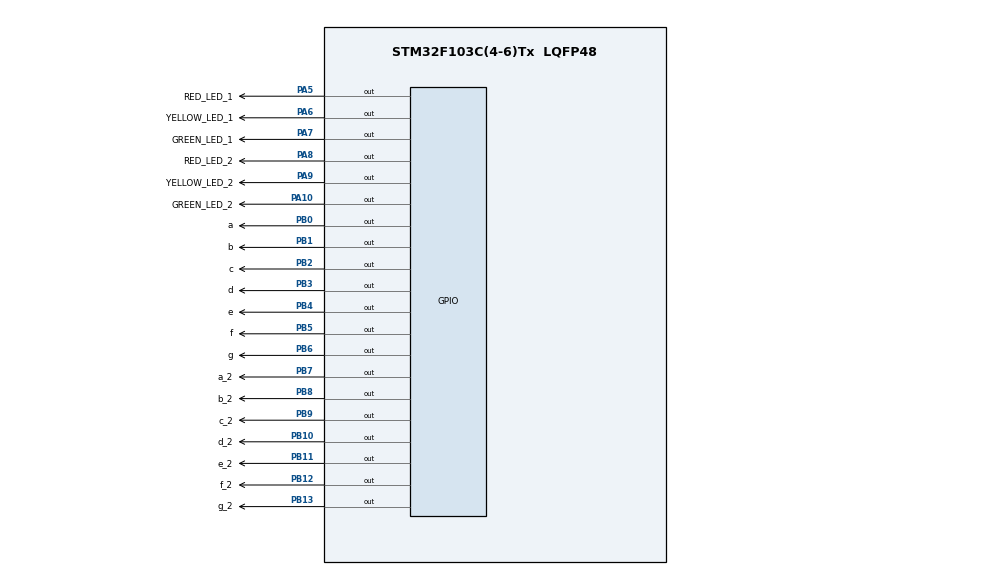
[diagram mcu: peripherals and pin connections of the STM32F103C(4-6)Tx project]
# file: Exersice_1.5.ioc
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Mcu.Family=STM32F1
Mcu.Name=STM32F103C(4-6)Tx
Mcu.Package=LQFP48
NVIC.PriorityGroup=NVIC_PRIORITYGROUP_4
PA10.GPIO_Label=GREEN_LED_2
PA10.Signal=GPIO_Output
PA5.GPIO_Label=RED_LED_1
PA5.Signal=GPIO_Output
PA6.GPIO_Label=YELLOW_LED_1
PA6.Signal=GPIO_Output
PA7.GPIO_Label=GREEN_LED_1
PA7.Signal=GPIO_Output
PA8.GPIO_Label=RED_LED_2
PA8.Signal=GPIO_Output
PA9.GPIO_Label=YELLOW_LED_2
PA9.Signal=GPIO_Output
PB0.GPIO_Label=a
PB0.Signal=GPIO_Output
PB1.GPIO_Label=b
PB1.Signal=GPIO_Output
PB10.GPIO_Label=d_2
PB10.Signal=GPIO_Output
PB11.GPIO_Label=e_2
PB11.Signal=GPIO_Output
PB12.GPIO_Label=f_2
PB12.Signal=GPIO_Output
PB13.GPIO_Label=g_2
PB13.Signal=GPIO_Output
PB2.GPIO_Label=c
PB2.Signal=GPIO_Output
PB3.GPIO_Label=d
PB3.Signal=GPIO_Output
PB4.GPIO_Label=e
PB4.Signal=GPIO_Output
PB5.GPIO_Label=f
PB5.Signal=GPIO_Output
PB6.GPIO_Label=g
PB6.Signal=GPIO_Output
PB7.GPIO_Label=a_2
PB7.Signal=GPIO_Output
PB8.GPIO_Label=b_2
PB8.Signal=GPIO_Output
PB9.GPIO_Label=c_2
PB9.Signal=GPIO_Output
ProjectManager.HeapSize=0x200
ProjectManager.StackSize=0x400
ProjectManager.TargetToolchain=STM32CubeIDE
RCC.APB1Freq_Value=8000000
RCC.APB2Freq_Value=8000000
board=custom

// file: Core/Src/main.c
/* USER CODE BEGIN Header */
/**
  ******************************************************************************
  * @file           : main.c
  * @brief          : Main program body
  ******************************************************************************
  * @attention
  *
  * Copyright (c) 2025 STMicroelectronics.
  * All rights reserved.
  *
  * This software is licensed under terms that can be found in the LICENSE file
  * in the root directory of this software component.
  * If no LICENSE file comes with this software, it is provided AS-IS.
  *
  ******************************************************************************
  */
/* USER CODE END Header */
#include "main.h"

void SystemClock_Config(void);
static void MX_GPIO_Init(void);
/* USER CODE BEGIN PFP */
void number_1(int n);
void number_2(int m);
void led_1(int *flag_1, int *t1);
void led_2(int *flag_2, int *t2);
/* USER CODE END PFP */

/* USER CODE BEGIN 0 */
void number_1(int n){
	HAL_GPIO_WritePin(GPIOB, a_Pin|b_Pin|c_Pin|d_Pin|e_Pin|f_Pin|g_Pin, SET);
	switch (n){
		case 0:
			HAL_GPIO_WritePin(GPIOB, a_Pin|b_Pin|c_Pin|d_Pin|e_Pin|f_Pin, RESET);
			HAL_GPIO_WritePin(GPIOB, g_Pin, SET);
			break;
		case 1:
			HAL_GPIO_WritePin(GPIOB, b_Pin|c_Pin, RESET);
			HAL_GPIO_WritePin(GPIOB, a_Pin|g_Pin|d_Pin|e_Pin|f_Pin, SET);
			break;
		case 2:
			HAL_GPIO_WritePin(GPIOB, a_Pin|b_Pin|g_Pin|d_Pin|e_Pin, RESET);
			HAL_GPIO_WritePin(GPIOB, c_Pin|f_Pin, SET);
			break;
		case 3:
			HAL_GPIO_WritePin(GPIOB, a_Pin|b_Pin|g_Pin|c_Pin|d_Pin, RESET);
			HAL_GPIO_WritePin(GPIOB, e_Pin|f_Pin, SET);
			break;
		case 4:
			HAL_GPIO_WritePin(GPIOB, b_Pin|c_Pin|f_Pin|g_Pin, RESET);
			HAL_GPIO_WritePin(GPIOB, a_Pin|d_Pin|e_Pin, SET);
			break;
		case 5:
			HAL_GPIO_WritePin(GPIOB, a_Pin|f_Pin|g_Pin|c_Pin|d_Pin, RESET);
			HAL_GPIO_WritePin(GPIOB, e_Pin|b_Pin, SET);
			break;
		case 6:
		    HAL_GPIO_WritePin(GPIOB, a_Pin|f_Pin|e_Pin|d_Pin|c_Pin|g_Pin, RESET);
		    HAL_GPIO_WritePin(GPIOB, b_Pin, SET);
		    break;
		case 7:
		    HAL_GPIO_WritePin(GPIOB, a_Pin|b_Pin|c_Pin, RESET);
		    HAL_GPIO_WritePin(GPIOB, d_Pin|e_Pin|f_Pin|g_Pin, SET);
		    break;
		case 8:
		    HAL_GPIO_WritePin(GPIOB, a_Pin|b_Pin|c_Pin|d_Pin|e_Pin|f_Pin|g_Pin, RESET);
		    break;
		case 9:
		    HAL_GPIO_WritePin(GPIOB, a_Pin|b_Pin|c_Pin|d_Pin|f_Pin|g_Pin, RESET);
		    HAL_GPIO_WritePin(GPIOB, e_Pin, SET);
		    break;
		default:
			HAL_GPIO_WritePin(GPIOB, a_Pin|b_Pin|c_Pin|d_Pin|e_Pin|f_Pin|g_Pin, SET);
	}
}

void number_2(int m){
	HAL_GPIO_WritePin(GPIOB, a_2_Pin|b_2_Pin|c_2_Pin|d_2_Pin|e_2_Pin|f_2_Pin|g_2_Pin, SET);
	switch (m){
		case 0:
			HAL_GPIO_WritePin(GPIOB, a_2_Pin|b_2_Pin|c_2_Pin|d_2_Pin|e_2_Pin|f_2_Pin, RESET);
			HAL_GPIO_WritePin(GPIOB, g_2_Pin, SET);
			break;
		case 1:
			HAL_GPIO_WritePin(GPIOB, b_2_Pin|c_2_Pin, RESET);
			HAL_GPIO_WritePin(GPIOB, a_2_Pin|g_2_Pin|d_2_Pin|e_2_Pin|f_2_Pin, SET);
			break;
		case 2:
			HAL_GPIO_WritePin(GPIOB, a_2_Pin|b_2_Pin|g_2_Pin|d_2_Pin|e_2_Pin, RESET);
			HAL_GPIO_WritePin(GPIOB, c_2_Pin|f_2_Pin, SET);
			break;
		case 3:
			HAL_GPIO_WritePin(GPIOB, a_2_Pin|b_2_Pin|g_2_Pin|c_2_Pin|d_2_Pin, RESET);
			HAL_GPIO_WritePin(GPIOB, e_2_Pin|f_2_Pin, SET);
			break;
		case 4:
			HAL_GPIO_WritePin(GPIOB, b_2_Pin|c_2_Pin|f_2_Pin|g_2_Pin, RESET);
			HAL_GPIO_WritePin(GPIOB, a_2_Pin|d_2_Pin|e_2_Pin, SET);
			break;
		case 5:
			HAL_GPIO_WritePin(GPIOB, a_2_Pin|f_2_Pin|g_2_Pin|c_2_Pin|d_2_Pin, RESET);
			HAL_GPIO_WritePin(GPIOB, e_2_Pin|b_2_Pin, SET);
			break;
		case 6:
			HAL_GPIO_WritePin(GPIOB, a_2_Pin|f_2_Pin|e_2_Pin|d_2_Pin|c_2_Pin|g_2_Pin, RESET);
			HAL_GPIO_WritePin(GPIOB, b_2_Pin, SET);
			break;
		case 7:
			HAL_GPIO_WritePin(GPIOB, a_2_Pin|b_2_Pin|c_2_Pin, RESET);
			HAL_GPIO_WritePin(GPIOB, d_2_Pin|e_2_Pin|f_2_Pin|g_2_Pin, SET);
			break;
		case 8:
			HAL_GPIO_WritePin(GPIOB, a_2_Pin|b_2_Pin|c_2_Pin|d_2_Pin|e_2_Pin|f_2_Pin|g_2_Pin, RESET);
			break;
		case 9:
			HAL_GPIO_WritePin(GPIOB, a_2_Pin|b_2_Pin|c_2_Pin|d_2_Pin|f_2_Pin|g_2_Pin, RESET);
			HAL_GPIO_WritePin(GPIOB, e_2_Pin, SET);
			break;
		default:
			HAL_GPIO_WritePin(GPIOB, a_2_Pin|b_2_Pin|c_2_Pin|d_2_Pin|e_2_Pin|f_2_Pin|g_2_Pin, SET);
	}
}

void led_1(int *flag_1, int *t1){
	if((*flag_1 == 1) && (*t1 == 0)){
		*flag_1 = 2;
		*t1 = 3;
	}
	else if((*flag_1 == 2) && (*t1 == 0)){
		*flag_1 = 3;
		*t1 = 2;
	}
	else if((*flag_1 == 3) && (*t1 == 0)){
		*flag_1 = 1;
		*t1 = 5;
	}
	if(*flag_1 == 1){
		HAL_GPIO_WritePin(GPIOA, YELLOW_LED_1_Pin, RESET);
		HAL_GPIO_WritePin(GPIOA, RED_LED_1_Pin, SET);
	}
	else if(*flag_1 == 2){
		HAL_GPIO_WritePin(GPIOA, RED_LED_1_Pin, RESET);
		HAL_GPIO_WritePin(GPIOA, GREEN_LED_1_Pin, SET);
	}
	else{
		HAL_GPIO_WritePin(GPIOA, GREEN_LED_1_Pin, RESET);
		HAL_GPIO_WritePin(GPIOA, YELLOW_LED_1_Pin, SET);
	}
	number_1(*t1);
	(*t1)--;
}

void led_2(int *flag_2, int *t2){
	if((*flag_2 == 1) && (*t2 == 0)){
		*flag_2 = 2;
		*t2 = 3;
	}
	else if((*flag_2 == 2) && (*t2 == 0)){
		*flag_2 = 3;
		*t2 = 2;
	}
	else if((*flag_2 == 3) && (*t2 == 0)){
		*flag_2 = 1;
		*t2 = 5;
	}
	if(*flag_2 == 1){
		HAL_GPIO_WritePin(GPIOA, YELLOW_LED_2_Pin, RESET);
		HAL_GPIO_WritePin(GPIOA, RED_LED_2_Pin, SET);
	}
	else if(*flag_2 == 2){
		HAL_GPIO_WritePin(GPIOA, RED_LED_2_Pin, RESET);
		HAL_GPIO_WritePin(GPIOA, GREEN_LED_2_Pin, SET);
	}
	else{
		HAL_GPIO_WritePin(GPIOA, GREEN_LED_2_Pin, RESET);
		HAL_GPIO_WritePin(GPIOA, YELLOW_LED_2_Pin, SET);
	}
	number_2(*t2);
	(*t2)--;
}

/* USER CODE END 0 */

int main(void)
{

  /* MCU Configuration--------------------------------------------------------*/

  /* Reset of all peripherals, Initializes the Flash interface and the Systick. */
  HAL_Init();

  /* Configure the system clock */
  SystemClock_Config();

  /* Initialize all configured peripherals */
  MX_GPIO_Init();
  /* USER CODE BEGIN 2 */
  int flag_1 = 1;
  int t1 = 5;
  int flag_2 = 2;
  int t2 = 3;
  /* USER CODE END 2 */

  /* Infinite loop */
  /* USER CODE BEGIN WHILE */
  while (1)
  {
	  led_1(&flag_1, &t1);
	  led_2(&flag_2, &t2);
	  HAL_Delay(1000);
    /* USER CODE END WHILE */

  }
}

void SystemClock_Config(void)
{
  RCC_OscInitTypeDef RCC_OscInitStruct = {0};
  RCC_ClkInitTypeDef RCC_ClkInitStruct = {0};

  /** Initializes the RCC Oscillators according to the specified parameters
  * in the RCC_OscInitTypeDef structure.
  */
  RCC_OscInitStruct.OscillatorType = RCC_OSCILLATORTYPE_HSI;
  RCC_OscInitStruct.HSIState = RCC_HSI_ON;
  RCC_OscInitStruct.HSICalibrationValue = RCC_HSICALIBRATION_DEFAULT;
  RCC_OscInitStruct.PLL.PLLState = RCC_PLL_NONE;
  if (HAL_RCC_OscConfig(&RCC_OscInitStruct) != HAL_OK)
  {
    Error_Handler();
  }

  /** Initializes the CPU, AHB and APB buses clocks
  */
  RCC_ClkInitStruct.ClockType = RCC_CLOCKTYPE_HCLK|RCC_CLOCKTYPE_SYSCLK
                              |RCC_CLOCKTYPE_PCLK1|RCC_CLOCKTYPE_PCLK2;
  RCC_ClkInitStruct.SYSCLKSource = RCC_SYSCLKSOURCE_HSI;
  RCC_ClkInitStruct.AHBCLKDivider = RCC_SYSCLK_DIV1;
  RCC_ClkInitStruct.APB1CLKDivider = RCC_HCLK_DIV1;
  RCC_ClkInitStruct.APB2CLKDivider = RCC_HCLK_DIV1;

  if (HAL_RCC_ClockConfig(&RCC_ClkInitStruct, FLASH_LATENCY_0) != HAL_OK)
  {
    Error_Handler();
  }
}

static void MX_GPIO_Init(void)
{
  GPIO_InitTypeDef GPIO_InitStruct = {0};

  /* GPIO Ports Clock Enable */
  __HAL_RCC_GPIOA_CLK_ENABLE();
  __HAL_RCC_GPIOB_CLK_ENABLE();

  /*Configure GPIO pin Output Level */
  HAL_GPIO_WritePin(GPIOA, RED_LED_1_Pin|YELLOW_LED_1_Pin|GREEN_LED_1_Pin|RED_LED_2_Pin
                          |YELLOW_LED_2_Pin|GREEN_LED_2_Pin, GPIO_PIN_RESET);

  /*Configure GPIO pin Output Level */
  HAL_GPIO_WritePin(GPIOB, a_Pin|b_Pin|c_Pin|d_2_Pin
                          |e_2_Pin|f_2_Pin|g_2_Pin|d_Pin
                          |e_Pin|f_Pin|g_Pin|a_2_Pin
                          |b_2_Pin|c_2_Pin, GPIO_PIN_SET);

  /*Configure GPIO pins : RED_LED_1_Pin YELLOW_LED_1_Pin GREEN_LED_1_Pin RED_LED_2_Pin
                           YELLOW_LED_2_Pin GREEN_LED_2_Pin */
  GPIO_InitStruct.Pin = RED_LED_1_Pin|YELLOW_LED_1_Pin|GREEN_LED_1_Pin|RED_LED_2_Pin
                          |YELLOW_LED_2_Pin|GREEN_LED_2_Pin;
  GPIO_InitStruct.Mode = GPIO_MODE_OUTPUT_PP;
  GPIO_InitStruct.Pull = GPIO_NOPULL;
  GPIO_InitStruct.Speed = GPIO_SPEED_FREQ_LOW;
  HAL_GPIO_Init(GPIOA, &GPIO_InitStruct);

  /*Configure GPIO pins : a_Pin b_Pin c_Pin d_2_Pin
                           e_2_Pin f_2_Pin g_2_Pin d_Pin
                           e_Pin f_Pin g_Pin a_2_Pin
                           b_2_Pin c_2_Pin */
  GPIO_InitStruct.Pin = a_Pin|b_Pin|c_Pin|d_2_Pin
                          |e_2_Pin|f_2_Pin|g_2_Pin|d_Pin
                          |e_Pin|f_Pin|g_Pin|a_2_Pin
                          |b_2_Pin|c_2_Pin;
  GPIO_InitStruct.Mode = GPIO_MODE_OUTPUT_PP;
  GPIO_InitStruct.Pull = GPIO_NOPULL;
  GPIO_InitStruct.Speed = GPIO_SPEED_FREQ_LOW;
  HAL_GPIO_Init(GPIOB, &GPIO_InitStruct);

}

void Error_Handler(void)
{
  __disable_irq();
  while (1)
  {
  }
}
